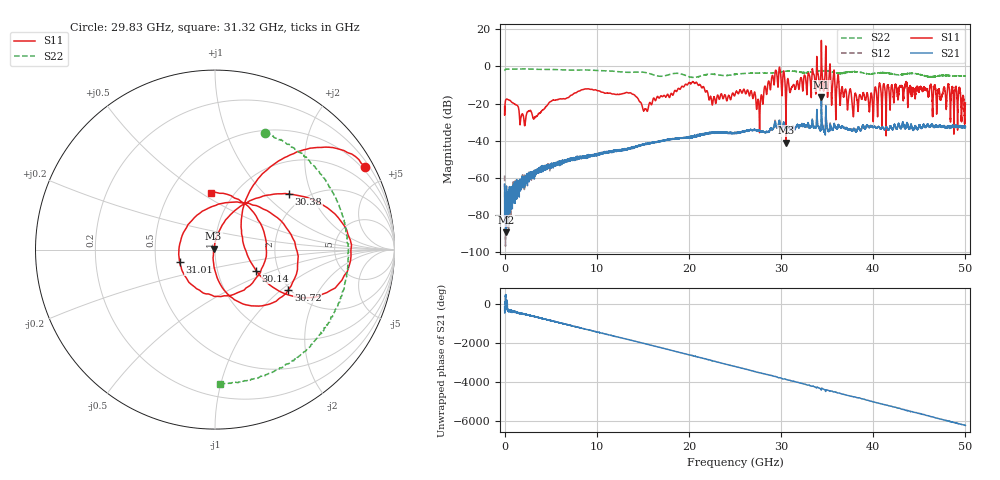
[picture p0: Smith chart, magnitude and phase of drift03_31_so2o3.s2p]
!Created with skrf (http://scikit-rf.org).
# Hz S RI R 50.0
!freq ReS11 ImS11 ReS21 ImS21 ReS12 ImS12 ReS22 ImS22
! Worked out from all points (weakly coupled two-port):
!   10001 points, 300 kHz to 50 GHz, reference 50 ohm
!   highest |S21| = -16.64 dB at 34.37 GHz (marker M1); lowest = -89.4 dB at 120.3 MHz (marker M2)
!   lowest |S11| = -41.0 dB at 30.53 GHz (marker M3), VSWR 1.02, Z = 49.2 + j0.446 ohm
!   |S11| at or under -10 dB: start of sweep to 19.55 GHz; 21.25 GHz to 28.55 GHz (7.298 GHz wide, 29.3 % of centre); 36.28 GHz to 40.62 GHz (4.339 GHz wide, 11.3 % of centre) (the widest 3 of 45)
!   |S22| runs from -5.9 to -1.3 dB; largest |S21 - S12| = 0.025
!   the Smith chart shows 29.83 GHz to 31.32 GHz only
!   S11 on the Smith chart (normalised r, x): 29.83 GHz: 0.35, +3.85; 30.14 GHz: 1.54, -0.39; 30.38 GHz: 1.67, +1.40; 30.72 GHz: 1.96, -1.12; 31.01 GHz: 0.66, -0.09; 31.32 GHz: 0.79, +0.56
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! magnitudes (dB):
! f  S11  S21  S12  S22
! 300 kHz  -21.7  -63.5  -58.8  -2.0
! 120.3 MHz  -18.0  -89.4  -80.4  -1.5
! 3.3 GHz  -27.3  -56.5  -55.9  -1.5
! 8.335 GHz  -12.6  -48.9  -48.8  -1.9
! 15.28 GHz  -22.8  -41.8  -41.7  -3.3
! 16.67 GHz  -16.5  -40.8  -40.4  -5.2
! 20.26 GHz  -9.2  -37.8  -38.1  -5.8
! 22.71 GHz  -16.5  -35.8  -35.5  -4.2
! 25 GHz  -15.3  -36.0  -35.7  -4.3
! 27.53 GHz  -17.8  -34.5  -34.6  -3.5
! 29.83 GHz  -0.4  -29.3  -28.7  -3.0
! 30.14 GHz  -11.8  -33.5  -33.5  -2.8
! 30.38 GHz  -5.8  -32.2  -32.5  -2.6
! 30.53 GHz  -41.0  -34.1  -34.1  -2.6
! 30.72 GHz  -6.6  -32.8  -32.7  -2.5
! 31.01 GHz  -13.6  -34.2  -34.4  -2.4
! 31.32 GHz  -10.0  -32.3  -32.4  -2.5
! 33.34 GHz  -7.5  -31.0  -31.3  -2.9
! 34.37 GHz  14.0  -16.6  -17.7  -2.4
! 37.85 GHz  -27.0  -33.7  -34.1  -2.8
! 41.67 GHz  -11.5  -34.0  -34.0  -3.7
! 50 GHz  -19.6  -32.6  -32.6  -5.0
